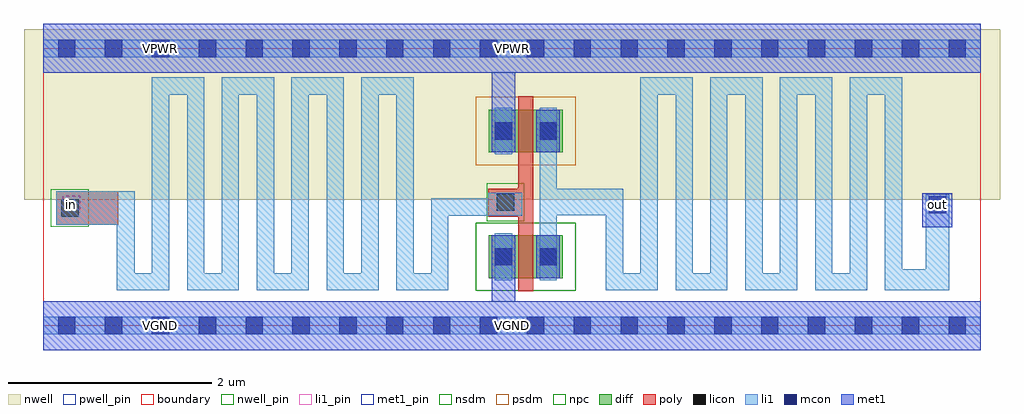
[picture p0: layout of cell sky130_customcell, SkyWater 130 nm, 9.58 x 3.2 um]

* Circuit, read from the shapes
.subckt sky130_customcell VGND VPB VPWR in out
XM1 out in VGND VSUBS sky130_fd_pr__nfet_01v8 w=0.42 l=0.15
XM2 out in VPWR VPB sky130_fd_pr__pfet_01v8 w=0.42 l=0.15
.ends

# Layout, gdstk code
import gdstk
lib = gdstk.Library(unit=1e-6, precision=1e-09)
def R(c, l, rs):  # rectangles x0, y0, x1, y1
    for r in rs: c.add(gdstk.rectangle(r[:2], r[2:], *l))
def A(c, l, x, y, w, h, nx, ny, dx, dy):  # array of equal rectangles
    R(c, l, [(x+i*dx, y+j*dy, x+i*dx+w, y+j*dy+h) for i in range(nx) for j in range(ny)])
nwell_pin = (64, 16)
nwell = (64, 20)
diff = (65, 20)
poly = (66, 20)
licon = (66, 44)
li1_pin = (67, 16)
li1 = (67, 20)
mcon = (67, 44)
met1_pin = (68, 16)
met1 = (68, 20)
nsdm = (93, 44)
psdm = (94, 20)
npc = (95, 20)
pwell_pin = (122, 16)
boundary = (235, 4)

sky130_customcell = lib.new_cell('sky130_customcell')
R(sky130_customcell, nwell_pin, [(1.065,2.635,1.235,2.805)])
R(sky130_customcell, nwell, [(-0.19,1.235,9.39,2.91)])
R(sky130_customcell, diff, [(4.37,0.465,5.1,0.885), (4.37,1.7,5.1,2.12)])
R(sky130_customcell, poly, [(4.66,0.335,4.81,1.07), (0.125,0.99,0.735,1.32), (4.365,1.07,4.81,1.345), (4.655,1.345,4.81,1.355), (4.66,1.355,4.81,2.25)])
R(sky130_customcell, licon, [(4.43,0.59,4.6,0.76), (4.87,0.59,5.04,0.76), (0.175,1.07,0.345,1.24), (4.45,1.125,4.62,1.295), (4.43,1.825,4.6,1.995), (4.87,1.825,5.04,1.995)])
R(sky130_customcell, li1_pin, [(0.19,1.105,0.36,1.275)])
A(sky130_customcell, li1, 1.41, 0.345, 0.51, 0.17, 4, 1, 0.685, 0)
A(sky130_customcell, li1, 5.52, 0.345, 0.51, 0.17, 4, 1, 0.685, 0)
A(sky130_customcell, li1, 1.065, 2.265, 0.515, 0.17, 4, 1, 0.685, 0)
A(sky130_customcell, li1, 5.86, 2.265, 0.515, 0.17, 4, 1, 0.685, 0)
R(sky130_customcell, li1, [(0,-0.085,9.2,0.085), (0.72,0.345,1.235,0.515), (8.26,0.345,8.89,0.555), (4.43,0.445,4.6,0.905), (4.87,0.445,5.04,1.085), (0.72,0.515,0.895,0.99), (1.065,0.515,1.235,2.265), (1.41,0.515,1.58,2.265), (1.75,0.515,1.92,2.265), (2.095,0.515,2.265,2.265), (2.435,0.515,2.605,2.265), (2.78,0.515,2.95,2.265), (3.12,0.515,3.29,2.265), (3.465,0.515,3.635,2.265), (3.805,0.515,3.975,1.08), (5.52,0.515,5.69,1.085), (5.86,0.515,6.03,2.265), (6.205,0.515,6.375,2.265), (6.545,0.515,6.715,2.265), (6.89,0.515,7.06,2.265), (7.23,0.515,7.4,2.265), (7.575,0.515,7.745,2.265), (7.915,0.515,8.085,2.265), (8.26,0.555,8.43,2.265), (8.66,0.555,8.89,1.29), (0.125,0.99,0.895,1.32), (3.805,1.08,4.7,1.25), (4.87,1.085,5.69,1.345), (4.365,1.25,4.7,1.305), (4.87,1.345,5.04,2.14), (4.43,1.68,4.6,2.14), (0,2.635,9.2,2.805)])
A(sky130_customcell, mcon, 0.145, -0.085, 0.17, 0.17, 20, 2, 0.46, 2.72)
R(sky130_customcell, mcon, [(4.43,0.59,4.6,0.76), (4.87,0.59,5.04,0.76), (8.69,1.1,8.86,1.27), (4.43,1.825,4.6,1.995), (4.87,1.825,5.04,1.995)])
R(sky130_customcell, met1_pin, [(0,-0.24,9.2,0.24), (1.065,-0.085,1.235,0.085), (8.69,1.1,8.86,1.27), (0,2.48,9.2,2.96), (1.065,2.635,1.235,2.805)])
R(sky130_customcell, met1, [(0,-0.24,9.2,0.24), (4.4,0.24,4.63,0.885), (4.84,0.465,5.07,0.885), (8.625,0.965,8.92,1.3), (4.4,1.7,4.63,2.48), (4.84,1.7,5.07,2.12), (0,2.48,9.2,2.96)])
R(sky130_customcell, nsdm, [(4.245,0.34,5.225,1.01)])
R(sky130_customcell, psdm, [(4.245,1.575,5.225,2.245)])
R(sky130_customcell, npc, [(0.075,0.97,0.445,1.34), (4.35,1.025,4.72,1.395)])
R(sky130_customcell, pwell_pin, [(1.065,-0.085,1.235,0.085)])
R(sky130_customcell, boundary, [(0,0,9.2,2.72)])
sky130_customcell.add(gdstk.Label('in', (0.275,1.19), layer=67, texttype=16))
sky130_customcell.add(gdstk.Label('out', (8.775,1.185), layer=68, texttype=16))
sky130_customcell.add(gdstk.Label('VPWR', (4.6,2.72), layer=68, texttype=16))
sky130_customcell.add(gdstk.Label('VPWR', (1.15,2.72), layer=68, texttype=16))
sky130_customcell.add(gdstk.Label('VGND', (1.15,0), layer=68, texttype=16))
sky130_customcell.add(gdstk.Label('VGND', (4.6,0), layer=68, texttype=16))
sky130_customcell.add(gdstk.Label('VPB', (1.15,2.72), layer=64, texttype=16))
sky130_customcell.add(gdstk.Label('VNB', (1.15,0), layer=122, texttype=16))

lib.write_gds('sky130_customcell.gds')
